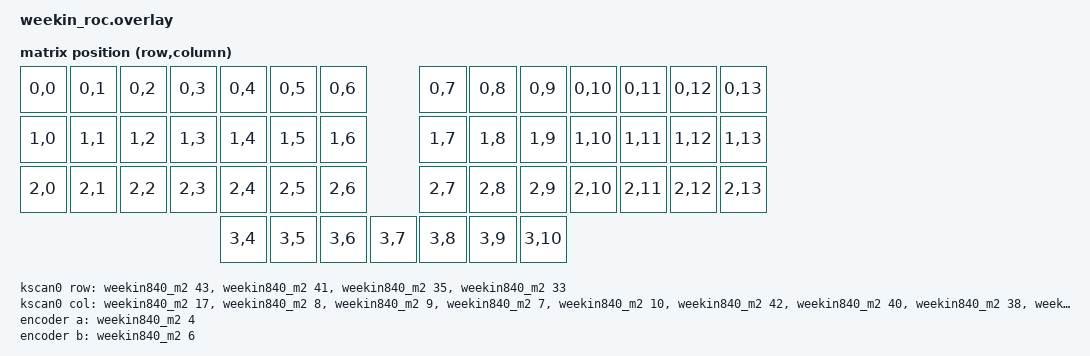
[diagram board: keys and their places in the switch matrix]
/*
 * Copyright (c) 2022 The ZMK Contributors
 *
 * SPDX-License-Identifier: MIT
 *
 */

#include <dt-bindings/zmk/matrix_transform.h>

/ {
    chosen {
        zmk,kscan = &kscan0;
        zmk,matrix_transform = &default_transform;
    };

    // 定义矩阵扫描的引脚
    kscan0: kscan_0 {
        compatible = "zmk,kscan-gpio-matrix";
        label = "KSCAN";
        diode-direction = "row2col";

        // 列
        col-gpios
            = <&weekin840_m2 17 (GPIO_ACTIVE_HIGH | GPIO_PULL_DOWN)>  // c0
            , <&weekin840_m2 8  (GPIO_ACTIVE_HIGH | GPIO_PULL_DOWN)>  // c1
            , <&weekin840_m2 9  (GPIO_ACTIVE_HIGH | GPIO_PULL_DOWN)>  // c2
            , <&weekin840_m2 7  (GPIO_ACTIVE_HIGH | GPIO_PULL_DOWN)>  // c3
            , <&weekin840_m2 10 (GPIO_ACTIVE_HIGH | GPIO_PULL_DOWN)>  // c4
            , <&weekin840_m2 42 (GPIO_ACTIVE_HIGH | GPIO_PULL_DOWN)>  // c5
            , <&weekin840_m2 40 (GPIO_ACTIVE_HIGH | GPIO_PULL_DOWN)>  // c6
            , <&weekin840_m2 38 (GPIO_ACTIVE_HIGH | GPIO_PULL_DOWN)>  // c7
            , <&weekin840_m2 36 (GPIO_ACTIVE_HIGH | GPIO_PULL_DOWN)>  // c8
            , <&weekin840_m2 22 (GPIO_ACTIVE_HIGH | GPIO_PULL_DOWN)>  // c9
            , <&weekin840_m2 20 (GPIO_ACTIVE_HIGH | GPIO_PULL_DOWN)>  // c10
            , <&weekin840_m2 16 (GPIO_ACTIVE_HIGH | GPIO_PULL_DOWN)>  // c11
            , <&weekin840_m2 34 (GPIO_ACTIVE_HIGH | GPIO_PULL_DOWN)>  // c12
            , <&weekin840_m2 32 (GPIO_ACTIVE_HIGH | GPIO_PULL_DOWN)>  // c13
            ;

        // 行
        row-gpios
            = <&weekin840_m2 43 GPIO_ACTIVE_HIGH>  // r0
            , <&weekin840_m2 41 GPIO_ACTIVE_HIGH>  // r1
            , <&weekin840_m2 35 GPIO_ACTIVE_HIGH>  // r2
            , <&weekin840_m2 33 GPIO_ACTIVE_HIGH>  // r3
            ;
    };

    // 矩阵定义
    default_transform: keymap_transform_0 {
        compatible = "zmk,matrix-transform";
        columns = <14>;
        rows = <4>;

        // RC(row, column)
        map = <
RC(0,0) RC(0,1) RC(0,2) RC(0,3) RC(0,4) RC(0,5) RC(0,6)           RC(0,7) RC(0,8) RC(0,9) RC(0,10) RC(0,11) RC(0,12) RC(0,13)
RC(1,0) RC(1,1) RC(1,2) RC(1,3) RC(1,4) RC(1,5) RC(1,6)           RC(1,7) RC(1,8) RC(1,9) RC(1,10) RC(1,11) RC(1,12) RC(1,13)
RC(2,0) RC(2,1) RC(2,2) RC(2,3) RC(2,4) RC(2,5) RC(2,6)           RC(2,7) RC(2,8) RC(2,9) RC(2,10) RC(2,11) RC(2,12) RC(2,13)
                                RC(3,4) RC(3,5) RC(3,6)  RC(3,7)  RC(3,8) RC(3,9) RC(3,10)
        >;
    };
    
    // 编码器
    encoder: encoder_0 {
        compatible = "alps,ec11";
        label = "ENCODER";
        a-gpios = <&weekin840_m2 4 (GPIO_ACTIVE_HIGH | GPIO_PULL_UP)>;
        b-gpios = <&weekin840_m2 6 (GPIO_ACTIVE_HIGH | GPIO_PULL_UP)>;
        resolution = <2>;
        status = "okay";
    };

    // 传感器列表
    sensors {
		compatible = "zmk,keymap-sensors";
		sensors = <&encoder>;
	};

};

&weekin840_m2_i2c {
	status = "okay";

	oled: ssd1306@3c {
		compatible = "solomon,ssd1306fb";
		reg = <0x3c>;
		label = "DISPLAY";
		width = <128>;
		height = <32>;
		segment-offset = <0>;
		page-offset = <0>;
		display-offset = <0>;
		multiplex-ratio = <31>;
		segment-remap;
		com-invdir;
		com-sequential;
		prechargep = <0x22>;
	};
};
